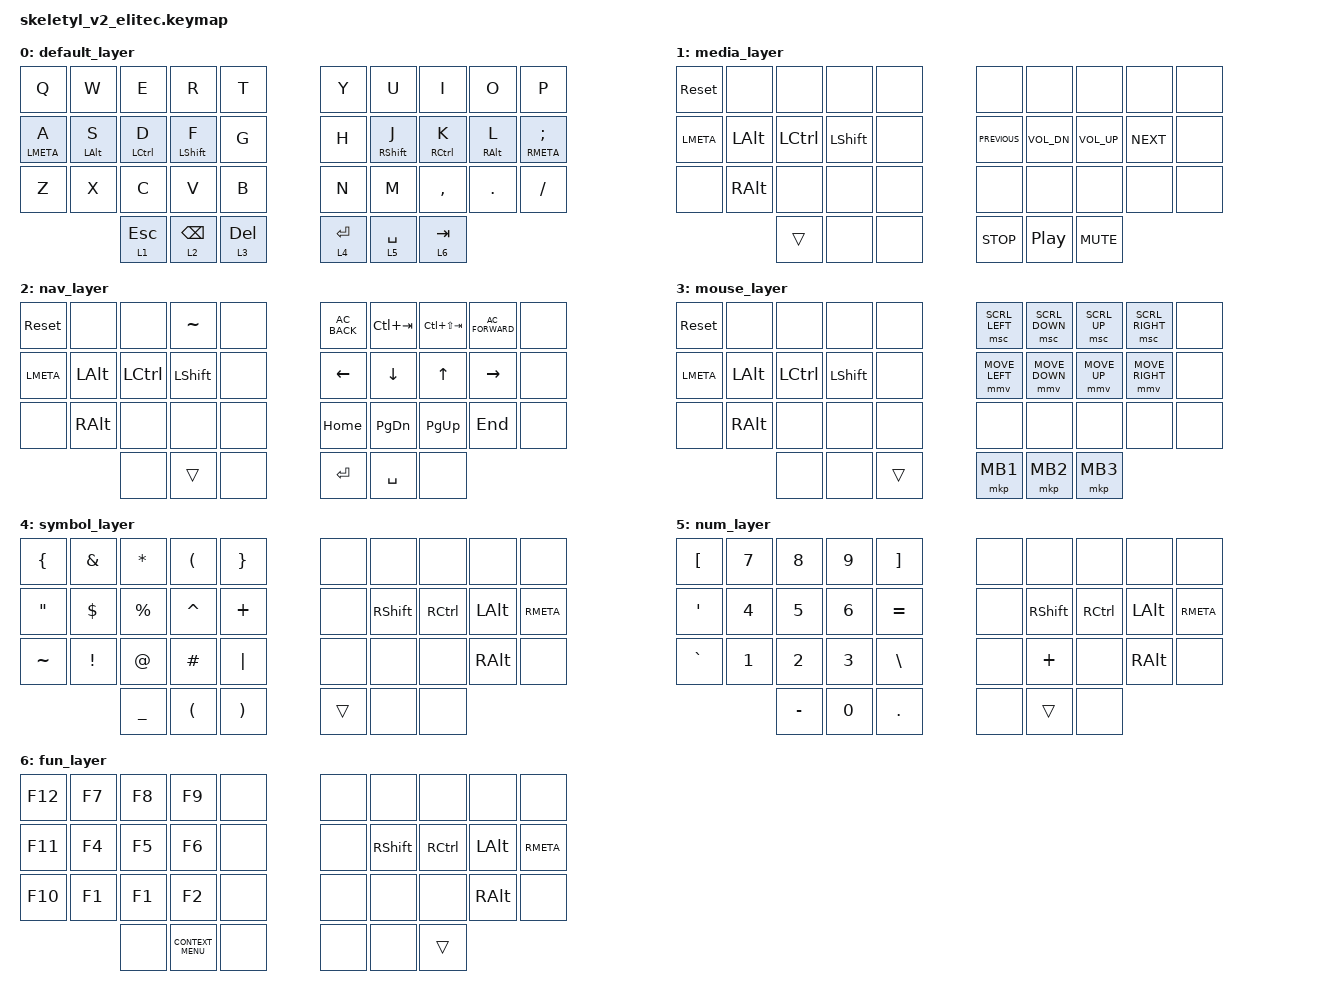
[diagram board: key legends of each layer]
#include <behaviors.dtsi>
#include <dt-bindings/zmk/keys.h>
#include <dt-bindings/zmk/pointing.h>

/ {
    keymap {
        compatible = "zmk,keymap";

        default_layer {
/*
* ,----------------------------------.  ,------+------+------+------+------.
* |   Q  |   W  |   E  |   R  |   T  |  |   Y  |   U  |   I  |   O  |   P  |
* |------+------+------+------+------|  |------+------+------+------+------|
* |LGUI/A|LALT/S|LCTL/D|LSFT/F|   G  |  |   H  |RSFT/J|RCTL/K|LALT/L|RGUI/;|
* |------+------+------+------+------|  |------+------+------+------+------|
* |   Z  |   X  |   C  |   V  |   B  |  |   N  |   M  |   ,  |   .  |   /  |
* `-------------+------+------+------|  `------+------+------+-------------'
*               |L1/Esc|L2/Bks|L3/Del|  |L4/Ent|L5/Spc|L6/Tab|
*               `--------------------'  `--------------------'
*/
            bindings = <
&kp Q        &kp W           &kp E         &kp R            &kp T           &kp Y        &kp U         &kp I        &kp O            &kp P
&mt LMETA A  &mt LEFT_ALT S  &mt LCTRL D   &mt LSHFT F      &kp G           &kp H        &mt RSHIFT J  &mt RCTRL K  &mt RIGHT_ALT L  &mt RMETA SEMI
&kp Z        &kp X           &kp C         &kp V            &kp B           &kp N        &kp M         &kp COMMA    &kp DOT          &kp FSLH
                             &lt 1 ESCAPE  &lt 2 BACKSPACE  &lt 3 DELETE    &lt 4 ENTER  &lt 5 SPACE   &lt 6 TAB
            >;
        };

        media_layer {
/*
* ,----------------------------------.  ,------+------+------+------+------.
* |Tennsy|      |      |      |      |  |      |      |      |      |      |
* |------+------+------+------+------|  |------+------+------+------+------|
* | LGUI | LALT | LCTL | LSFT |      |  | Prev |VolDwn|VolUp | Next |      |
* |------+------+------+------+------|  |------+------+------+------+------|
* |      | RALT |      |      |      |  |      |      |      |      |      |
* `-------------+------+------+------|  `------+------+------+-------------'
*               |Trans |      |      |  | Stop | Play | Mute |
*               `--------------------'  `--------------------'
*/
            bindings = <
&sys_reset  &none          &none      &none       &none    &none           &none             &none         &none       &none
&kp LMETA   &kp LEFT_ALT   &kp LCTRL  &kp LSHIFT  &none    &kp C_PREVIOUS  &kp C_VOL_DN      &kp C_VOL_UP  &kp C_NEXT  &none
&none       &kp RIGHT_ALT  &none      &none       &none    &none           &none             &none         &none       &none
                           &trans     &none       &none    &kp C_STOP      &kp C_PLAY_PAUSE  &kp C_MUTE
            >;
        };

        nav_layer {
/*
* ,----------------------------------.  ,------+------+------+------+------.
* |Tennsy|      |      |      |      |  | WBck |PrevTb|NextTb| WFwd |      |
* |------+------+------+------+------|  |------+------+------+------+------|
* | LGUI | LALT | LCTL | LSFT |      |  | Prev |VolDwn|VolUp | Next |      |
* |------+------+------+------+------|  |------+------+------+------+------|
* |      | RALT |      |      |      |  | Home | PgDn | PgUp | End  |      |
* `-------------+------+------+------|  |------+------+------+-------------'
*               |      |Trans |      |  | Ent  | Spc  |      |
*               `--------------------'  `--------------------'
*/
            bindings = <
&sys_reset  &none          &none      &kp TILDE   &none    &kp C_AC_BACK  &kp LC(TAB)    &kp LC(LS(TAB))  &kp C_AC_FORWARD  &none
&kp LMETA   &kp LEFT_ALT   &kp LCTRL  &kp LSHIFT  &none    &kp LEFT       &kp DOWN       &kp UP_ARROW     &kp RIGHT         &none
&none       &kp RIGHT_ALT  &none      &none       &none    &kp HOME       &kp PAGE_DOWN  &kp PAGE_UP      &kp END           &none
                           &none      &trans      &none    &kp ENTER      &kp SPACE      &none
            >;
        };

        mouse_layer {
/*
* ,----------------------------------.  ,------+------+------+------+------.
* |Tennsy|      |      |      |      |  |MwLeft| MwDn | MwUp | MwRt |      |
* |------+------+------+------+------|  |------+------+------+------+------|
* | LGUI | LALT | LCTL | LSFT |      |  |MLeft | MDwn | MUp  |MRight|      |
* |------+------+------+------+------|  |------+------+------+------+------|
* |      | RALT |      |      |      |  |      |      |      |      |      |
* `-------------+------+------+------|  |------+------+------+-------------'
*               |      |      |Trans |  | Mb1  | Mb2  | Mb3  |
*               `--------------------'  `--------------------'
*/
            bindings = <
&sys_reset  &none          &none      &none       &none     &msc SCRL_LEFT  &msc SCRL_DOWN  &msc SCRL_UP  &msc SCRL_RIGHT  &none
&kp LMETA   &kp LEFT_ALT   &kp LCTRL  &kp LSHIFT  &none     &mmv MOVE_LEFT  &mmv MOVE_DOWN  &mmv MOVE_UP  &mmv MOVE_RIGHT  &none
&none       &kp RIGHT_ALT  &none      &none       &none     &none           &none           &none         &none            &none
                           &none      &none       &trans    &mkp MB1        &mkp MB2        &mkp MB3
            >;
        };

        symbol_layer {
/*
* ,----------------------------------.  ,------+------+------+------+------.
* |   {  |   &  |   *  |   (  |   }  |  |      |      |      |      |      |
* |------+------+------+------+------|  |------+------+------+------+------|
* |   "  |   $  |   %  |   ^  |   +  |  |      | RSFT | RCTL | LALT | RGUI |
* |------+------+------+------+------|  |------+------+------+------+------|
* |   ~  |   !  |   @  |   #  |   |  |  |      |      |      | RALT |      |
* `-------------+------+------+------|  `------+------+------+-------------'
*               |   _  |   (  |   )  |  |Trans |      |      |
*               `--------------------'  `--------------------'
*/
            bindings = <
&kp LEFT_BRACE     &kp AMPS         &kp STAR        &kp LEFT_PARENTHESIS  &kp RIGHT_BRACE          &none   &none       &none      &none          &none
&kp DOUBLE_QUOTES  &kp DOLLAR       &kp PERCENT     &kp CARET             &kp PLUS                 &none   &kp RSHIFT  &kp RCTRL  &kp LEFT_ALT   &kp RMETA
&kp TILDE          &kp EXCLAMATION  &kp AT_SIGN     &kp HASH              &kp PIPE                 &none   &none       &none      &kp RIGHT_ALT  &none
                                    &kp UNDERSCORE  &kp LEFT_PARENTHESIS  &kp RIGHT_PARENTHESIS    &trans  &none       &none
            >;
        };

        num_layer {
/*
* ,----------------------------------.  ,------+------+------+------+------.
* |   [  |   7  |   8  |   9  |   ]  |  |      |      |      |      |      |
* |------+------+------+------+------|  |------+------+------+------+------|
* |   '  |   4  |   5  |   6  |   =  |  |      | RSFT | RCTL | LALT | RGUI |
* |------+------+------+------+------|  |------+------+------+------+------|
* |   `  |   1  |   2  |   3  |   \  |  |      |   +  |      | RALT |      |
* `-------------+------+------+------|  `------+------+------+-------------'
*               |   -  |   0  |   .  |  |      |Trans |      |
*               `--------------------'  `--------------------'
*/
            bindings = <
&kp LBKT   &kp N7  &kp N8     &kp N9  &kp RBKT     &none  &none       &none      &none          &none
&kp SQT    &kp N4  &kp N5     &kp N6  &kp EQUAL    &none  &kp RSHIFT  &kp RCTRL  &kp LEFT_ALT   &kp RMETA
&kp GRAVE  &kp N1  &kp N2     &kp N3  &kp BSLH     &none  &kp PLUS    &none      &kp RIGHT_ALT  &none
                   &kp MINUS  &kp N0  &kp DOT      &none  &trans      &none
            >;
        };

        fun_layer {
/*
* ,----------------------------------.  ,------+------+------+------+------.
* | F12  |  F7  |  F8  |  F9  |      |  |      |      |      |      |      |
* |------+------+------+------+------|  |------+------+------+------+------|
* | F11  |  F4  |  F5  |  F6  |      |  |      | RSFT | RCTL | LALT | RGUI |
* |------+------+------+------+------|  |------+------+------+------+------|
* | F10  |  F1  |  F2  |  F3  |      |  |      |      |      | RALT |      |
* `-------------+------+------+------|  `------+------+------+-------------'
*               |      | App  |      |  |      |      |Trans |
*               `--------------------'  `--------------------'
*/
            bindings = <
&kp F12  &kp F7  &kp F8  &kp F9              &none    &none  &none       &none      &none          &none
&kp F11  &kp F4  &kp F5  &kp F6              &none    &none  &kp RSHIFT  &kp RCTRL  &kp LEFT_ALT   &kp RMETA
&kp F10  &kp F1  &kp F1  &kp F2              &none    &none  &none       &none      &kp RIGHT_ALT  &none
                 &none   &kp K_CONTEXT_MENU  &none    &none  &none       &trans
            >;
        };
    };
};

